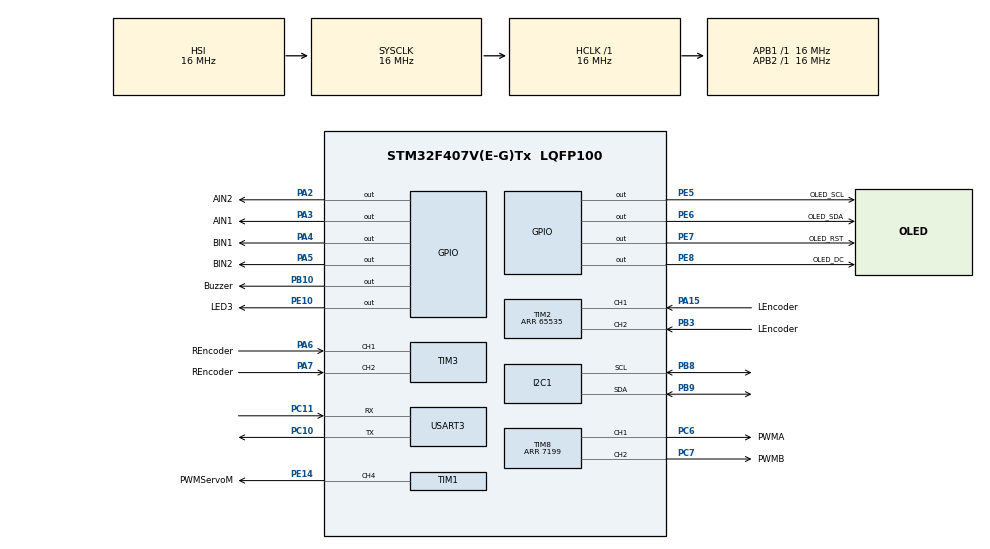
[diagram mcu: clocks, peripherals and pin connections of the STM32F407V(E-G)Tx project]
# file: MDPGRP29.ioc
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FREERTOS.Tasks01=defaultTask,24,128,StartDefaultTask,Default,NULL,Dynamic,NULL,NULL;oled,8,128,OLEDDisplay,Default,NULL,Dynamic,NULL,NULL;Motor,8,128,MOTOR,Default,NULL,Dynamic,NULL,NULL;encoder1,8,128,LEncoder,Default,NULL,Dynamic,NULL,NULL;encoder2,8,128,REncoder,Default,NULL,Dynamic,NULL,NULL;startGyro,8,128,startGyroTask,Default,NULL,Dynamic,NULL,NULL
Mcu.Family=STM32F4
Mcu.Name=STM32F407V(E-G)Tx
Mcu.Package=LQFP100
NVIC.PriorityGroup=NVIC_PRIORITYGROUP_4
NVIC.USART3_IRQn=true\:5\:0\:false\:false\:true\:true\:true\:true\:true
PA15.GPIO_Label=LEncoder
PA15.Signal=S_TIM2_CH1_ETR
PA2.GPIO_Label=AIN2
PA2.GPIO_Speed=GPIO_SPEED_FREQ_HIGH
PA2.Signal=GPIO_Output
PA3.GPIO_Label=AIN1
PA3.GPIO_Speed=GPIO_SPEED_FREQ_HIGH
PA3.Signal=GPIO_Output
PA4.GPIO_Label=BIN1
PA4.GPIO_Speed=GPIO_SPEED_FREQ_HIGH
PA4.Signal=GPIO_Output
PA5.GPIO_Label=BIN2
PA5.GPIO_Speed=GPIO_SPEED_FREQ_HIGH
PA5.Signal=GPIO_Output
PA6.GPIO_Label=REncoder
PA6.Signal=S_TIM3_CH1
PA7.GPIO_Label=REncoder
PA7.Signal=S_TIM3_CH2
PB10.GPIO_Label=Buzzer
PB10.Signal=GPIO_Output
PB3.GPIO_Label=LEncoder
PB3.Signal=S_TIM2_CH2
PB8.Mode=I2C
PB8.Signal=I2C1_SCL
PB9.Mode=I2C
PB9.Signal=I2C1_SDA
PC10.Mode=Asynchronous
PC10.Signal=USART3_TX
PC11.Mode=Asynchronous
PC11.Signal=USART3_RX
PC6.GPIO_Label=PWMA
PC6.Signal=S_TIM8_CH1
PC7.GPIO_Label=PWMB
PC7.GPIO_ModeDefaultPP=GPIO_MODE_AF_PP
PC7.GPIO_PuPd=GPIO_NOPULL
PC7.GPIO_Speed=GPIO_SPEED_FREQ_LOW
PC7.Signal=S_TIM8_CH2
PE10.GPIO_Label=LED3
PE10.Signal=GPIO_Output
PE14.GPIO_Label=PWMServoM
PE14.GPIO_PuPd=GPIO_NOPULL
PE14.Signal=S_TIM1_CH4
PE5.GPIO_Label=OLED_SCL
PE5.Signal=GPIO_Output
PE6.GPIO_Label=OLED_SDA
PE6.Signal=GPIO_Output
PE7.GPIO_Label=OLED_RST
PE7.Signal=GPIO_Output
PE8.GPIO_Label=OLED_DC
PE8.Signal=GPIO_Output
ProjectManager.HeapSize=0x200
ProjectManager.StackSize=0x400
ProjectManager.TargetToolchain=STM32CubeIDE
RCC.AHBFreq_Value=16000000
RCC.APB1Freq_Value=16000000
RCC.APB2Freq_Value=16000000
RCC.CortexFreq_Value=16000000
RCC.HSE_VALUE=25000000
RCC.HSI_VALUE=16000000
RCC.LSE_VALUE=32768
RCC.SYSCLKFreq_VALUE=16000000
RCC.VCOOutputFreq_Value=192000000
SH.S_TIM1_CH4.0=TIM1_CH4,PWM Generation4 CH4
SH.S_TIM2_CH1_ETR.0=TIM2_CH1,Encoder_Interface
SH.S_TIM2_CH2.0=TIM2_CH2,Encoder_Interface
SH.S_TIM3_CH1.0=TIM3_CH1,Encoder_Interface
SH.S_TIM3_CH2.0=TIM3_CH2,Encoder_Interface
SH.S_TIM8_CH1.0=TIM8_CH1,PWM Generation1 CH1
SH.S_TIM8_CH2.0=TIM8_CH2,PWM Generation2 CH2
TIM1.Channel-PWM\ Generation4\ CH4=TIM_CHANNEL_4
TIM1.Period=1000
TIM1.Prescaler=160
TIM2.EncoderMode=TIM_ENCODERMODE_TI12
TIM2.IC1Filter=10
TIM2.IC2Filter=10
TIM2.Period=65535
TIM3.EncoderMode=TIM_ENCODERMODE_TI12
TIM3.IC1Filter=10
TIM3.IC2Filter=10
TIM8.AutoReloadPreload=TIM_AUTORELOAD_PRELOAD_DISABLE
TIM8.Channel-PWM\ Generation1\ CH1=TIM_CHANNEL_1
TIM8.Channel-PWM\ Generation2\ CH2=TIM_CHANNEL_2
TIM8.Period=7199
USART3.VirtualMode=VM_ASYNC
VP_FREERTOS_VS_CMSIS_V2.Mode=CMSIS_V2
VP_TIM8_VS_ClockSourceINT.Mode=Internal
board=custom

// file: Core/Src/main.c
/* USER CODE BEGIN Header */
/**
  ******************************************************************************
  * @file           : main.c
  * @brief          : Main program body
  ******************************************************************************
  * @attention
  *
  * Copyright (c) 2024 STMicroelectronics.
  * All rights reserved.
  *
  * This software is licensed under terms that can be found in the LICENSE file
  * in the root directory of this software component.
  * If no LICENSE file comes with this software, it is provided AS-IS.
  *
  ******************************************************************************
  */
/* USER CODE END Header */
#include "main.h"
#include "cmsis_os.h"

I2C_HandleTypeDef hi2c1;

TIM_HandleTypeDef htim1;
TIM_HandleTypeDef htim2;
TIM_HandleTypeDef htim3;
TIM_HandleTypeDef htim8;

UART_HandleTypeDef huart3;

/* Definitions for defaultTask */
osThreadId_t defaultTaskHandle;
const osThreadAttr_t defaultTask_attributes = {
  .name = "defaultTask",
  .stack_size = 128 * 4,
  .priority = (osPriority_t) osPriorityNormal,
};
/* Definitions for oled */
osThreadId_t oledHandle;
const osThreadAttr_t oled_attributes = {
  .name = "oled",
  .stack_size = 128 * 4,
  .priority = (osPriority_t) osPriorityLow,
};
/* Definitions for Motor */
osThreadId_t MotorHandle;
const osThreadAttr_t Motor_attributes = {
  .name = "Motor",
  .stack_size = 128 * 4,
  .priority = (osPriority_t) osPriorityLow,
};
/* Definitions for encoder1 */
osThreadId_t encoder1Handle;
const osThreadAttr_t encoder1_attributes = {
  .name = "encoder1",
  .stack_size = 128 * 4,
  .priority = (osPriority_t) osPriorityLow,
};
/* Definitions for encoder2 */
osThreadId_t encoder2Handle;
const osThreadAttr_t encoder2_attributes = {
  .name = "encoder2",
  .stack_size = 128 * 4,
  .priority = (osPriority_t) osPriorityLow,
};
/* Definitions for startGyro */
osThreadId_t startGyroHandle;
const osThreadAttr_t startGyro_attributes = {
  .name = "startGyro",
  .stack_size = 128 * 4,
  .priority = (osPriority_t) osPriorityLow,
};

void SystemClock_Config(void);
static void MX_GPIO_Init(void);
static void MX_TIM2_Init(void);
static void MX_TIM8_Init(void);
static void MX_USART3_UART_Init(void);
static void MX_TIM1_Init(void);
static void MX_TIM3_Init(void);
static void MX_I2C1_Init(void);
void StartDefaultTask(void *argument);
void OLEDDisplay(void *argument);
void MOTOR(void *argument);
void LEncoder(void *argument);
void REncoder(void *argument);
void startGyroTask(void *argument);

/* USER CODE BEGIN PFP */
// Gyro
double total_angle=0;
uint8_t gyroBuffer[20];
uint8_t ICMAddress = 0x68;

// movement
uint16_t pwmVal_servo = 149;
uint16_t pwmVal_R = 0;
uint16_t pwmVal_L = 0;
int times_acceptable=0;
int e_brake = 0;

// MotorEncoder
int32_t rightEncoderVal = 0, leftEncoderVal = 0;
int32_t rightTarget = 0, leftTarget = 0;
double target_angle=0;
/* USER CODE END PFP */

int main(void)
{

  /* MCU Configuration--------------------------------------------------------*/

  /* Reset of all peripherals, Initializes the Flash interface and the Systick. */
  HAL_Init();

  /* Configure the system clock */
  SystemClock_Config();

  /* Initialize all configured peripherals */
  MX_GPIO_Init();
  MX_TIM2_Init();
  MX_TIM8_Init();
  MX_USART3_UART_Init();
  MX_TIM1_Init();
  MX_TIM3_Init();
  MX_I2C1_Init();
  /* USER CODE BEGIN 2 */
  OLED_Init();
  /* USER CODE END 2 */

  /* Init scheduler */
  osKernelInitialize();

  /* Create the thread(s) */
  /* creation of defaultTask */
  defaultTaskHandle = osThreadNew(StartDefaultTask, NULL, &defaultTask_attributes);

  /* creation of oled */
  oledHandle = osThreadNew(OLEDDisplay, NULL, &oled_attributes);

  /* creation of Motor */
  MotorHandle = osThreadNew(MOTOR, NULL, &Motor_attributes);

  /* creation of encoder1 */
  encoder1Handle = osThreadNew(LEncoder, NULL, &encoder1_attributes);

  /* creation of encoder2 */
  encoder2Handle = osThreadNew(REncoder, NULL, &encoder2_attributes);

  /* creation of startGyro */
  startGyroHandle = osThreadNew(startGyroTask, NULL, &startGyro_attributes);

  /* Start scheduler */
  osKernelStart();

  /* We should never get here as control is now taken by the scheduler */
  /* Infinite loop */
  while (1)
  {

  }
}

void SystemClock_Config(void)
{
  RCC_OscInitTypeDef RCC_OscInitStruct = {0};
  RCC_ClkInitTypeDef RCC_ClkInitStruct = {0};

  /** Configure the main internal regulator output voltage
  */
  __HAL_RCC_PWR_CLK_ENABLE();
  __HAL_PWR_VOLTAGESCALING_CONFIG(PWR_REGULATOR_VOLTAGE_SCALE1);

  /** Initializes the RCC Oscillators according to the specified parameters
  * in the RCC_OscInitTypeDef structure.
  */
  RCC_OscInitStruct.OscillatorType = RCC_OSCILLATORTYPE_HSI;
  RCC_OscInitStruct.HSIState = RCC_HSI_ON;
  RCC_OscInitStruct.HSICalibrationValue = RCC_HSICALIBRATION_DEFAULT;
  RCC_OscInitStruct.PLL.PLLState = RCC_PLL_NONE;
  if (HAL_RCC_OscConfig(&RCC_OscInitStruct) != HAL_OK)
  {
    Error_Handler();
  }

  /** Initializes the CPU, AHB and APB buses clocks
  */
  RCC_ClkInitStruct.ClockType = RCC_CLOCKTYPE_HCLK|RCC_CLOCKTYPE_SYSCLK
                              |RCC_CLOCKTYPE_PCLK1|RCC_CLOCKTYPE_PCLK2;
  RCC_ClkInitStruct.SYSCLKSource = RCC_SYSCLKSOURCE_HSI;
  RCC_ClkInitStruct.AHBCLKDivider = RCC_SYSCLK_DIV1;
  RCC_ClkInitStruct.APB1CLKDivider = RCC_HCLK_DIV1;
  RCC_ClkInitStruct.APB2CLKDivider = RCC_HCLK_DIV1;

  if (HAL_RCC_ClockConfig(&RCC_ClkInitStruct, FLASH_LATENCY_0) != HAL_OK)
  {
    Error_Handler();
  }
}

static void MX_I2C1_Init(void)
{

  hi2c1.Instance = I2C1;
  hi2c1.Init.ClockSpeed = 100000;
  hi2c1.Init.DutyCycle = I2C_DUTYCYCLE_2;
  hi2c1.Init.OwnAddress1 = 0;
  hi2c1.Init.AddressingMode = I2C_ADDRESSINGMODE_7BIT;
  hi2c1.Init.DualAddressMode = I2C_DUALADDRESS_DISABLE;
  hi2c1.Init.OwnAddress2 = 0;
  hi2c1.Init.GeneralCallMode = I2C_GENERALCALL_DISABLE;
  hi2c1.Init.NoStretchMode = I2C_NOSTRETCH_DISABLE;
  if (HAL_I2C_Init(&hi2c1) != HAL_OK)
  {
    Error_Handler();
  }

}

static void MX_TIM1_Init(void)
{

  TIM_MasterConfigTypeDef sMasterConfig = {0};
  TIM_OC_InitTypeDef sConfigOC = {0};
  TIM_BreakDeadTimeConfigTypeDef sBreakDeadTimeConfig = {0};

  htim1.Instance = TIM1;
  htim1.Init.Prescaler = 160;
  htim1.Init.CounterMode = TIM_COUNTERMODE_UP;
  htim1.Init.Period = 1000;
  htim1.Init.ClockDivision = TIM_CLOCKDIVISION_DIV1;
  htim1.Init.RepetitionCounter = 0;
  htim1.Init.AutoReloadPreload = TIM_AUTORELOAD_PRELOAD_DISABLE;
  if (HAL_TIM_PWM_Init(&htim1) != HAL_OK)
  {
    Error_Handler();
  }
  sMasterConfig.MasterOutputTrigger = TIM_TRGO_RESET;
  sMasterConfig.MasterSlaveMode = TIM_MASTERSLAVEMODE_DISABLE;
  if (HAL_TIMEx_MasterConfigSynchronization(&htim1, &sMasterConfig) != HAL_OK)
  {
    Error_Handler();
  }
  sConfigOC.OCMode = TIM_OCMODE_PWM1;
  sConfigOC.Pulse = 0;
  sConfigOC.OCPolarity = TIM_OCPOLARITY_HIGH;
  sConfigOC.OCFastMode = TIM_OCFAST_DISABLE;
  sConfigOC.OCIdleState = TIM_OCIDLESTATE_RESET;
  sConfigOC.OCNIdleState = TIM_OCNIDLESTATE_RESET;
  if (HAL_TIM_PWM_ConfigChannel(&htim1, &sConfigOC, TIM_CHANNEL_4) != HAL_OK)
  {
    Error_Handler();
  }
  sBreakDeadTimeConfig.OffStateRunMode = TIM_OSSR_DISABLE;
  sBreakDeadTimeConfig.OffStateIDLEMode = TIM_OSSI_DISABLE;
  sBreakDeadTimeConfig.LockLevel = TIM_LOCKLEVEL_OFF;
  sBreakDeadTimeConfig.DeadTime = 0;
  sBreakDeadTimeConfig.BreakState = TIM_BREAK_DISABLE;
  sBreakDeadTimeConfig.BreakPolarity = TIM_BREAKPOLARITY_HIGH;
  sBreakDeadTimeConfig.AutomaticOutput = TIM_AUTOMATICOUTPUT_DISABLE;
  if (HAL_TIMEx_ConfigBreakDeadTime(&htim1, &sBreakDeadTimeConfig) != HAL_OK)
  {
    Error_Handler();
  }
  HAL_TIM_MspPostInit(&htim1);

}

static void MX_TIM2_Init(void)
{

  TIM_Encoder_InitTypeDef sConfig = {0};
  TIM_MasterConfigTypeDef sMasterConfig = {0};

  htim2.Instance = TIM2;
  htim2.Init.Prescaler = 0;
  htim2.Init.CounterMode = TIM_COUNTERMODE_UP;
  htim2.Init.Period = 65535;
  htim2.Init.ClockDivision = TIM_CLOCKDIVISION_DIV1;
  htim2.Init.AutoReloadPreload = TIM_AUTORELOAD_PRELOAD_DISABLE;
  sConfig.EncoderMode = TIM_ENCODERMODE_TI12;
  sConfig.IC1Polarity = TIM_ICPOLARITY_RISING;
  sConfig.IC1Selection = TIM_ICSELECTION_DIRECTTI;
  sConfig.IC1Prescaler = TIM_ICPSC_DIV1;
  sConfig.IC1Filter = 10;
  sConfig.IC2Polarity = TIM_ICPOLARITY_RISING;
  sConfig.IC2Selection = TIM_ICSELECTION_DIRECTTI;
  sConfig.IC2Prescaler = TIM_ICPSC_DIV1;
  sConfig.IC2Filter = 10;
  if (HAL_TIM_Encoder_Init(&htim2, &sConfig) != HAL_OK)
  {
    Error_Handler();
  }
  sMasterConfig.MasterOutputTrigger = TIM_TRGO_RESET;
  sMasterConfig.MasterSlaveMode = TIM_MASTERSLAVEMODE_DISABLE;
  if (HAL_TIMEx_MasterConfigSynchronization(&htim2, &sMasterConfig) != HAL_OK)
  {
    Error_Handler();
  }

}

static void MX_TIM3_Init(void)
{

  TIM_Encoder_InitTypeDef sConfig = {0};
  TIM_MasterConfigTypeDef sMasterConfig = {0};

  htim3.Instance = TIM3;
  htim3.Init.Prescaler = 0;
  htim3.Init.CounterMode = TIM_COUNTERMODE_UP;
  htim3.Init.Period = 65535;
  htim3.Init.ClockDivision = TIM_CLOCKDIVISION_DIV1;
  htim3.Init.AutoReloadPreload = TIM_AUTORELOAD_PRELOAD_DISABLE;
  sConfig.EncoderMode = TIM_ENCODERMODE_TI12;
  sConfig.IC1Polarity = TIM_ICPOLARITY_RISING;
  sConfig.IC1Selection = TIM_ICSELECTION_DIRECTTI;
  sConfig.IC1Prescaler = TIM_ICPSC_DIV1;
  sConfig.IC1Filter = 10;
  sConfig.IC2Polarity = TIM_ICPOLARITY_RISING;
  sConfig.IC2Selection = TIM_ICSELECTION_DIRECTTI;
  sConfig.IC2Prescaler = TIM_ICPSC_DIV1;
  sConfig.IC2Filter = 10;
  if (HAL_TIM_Encoder_Init(&htim3, &sConfig) != HAL_OK)
  {
    Error_Handler();
  }
  sMasterConfig.MasterOutputTrigger = TIM_TRGO_RESET;
  sMasterConfig.MasterSlaveMode = TIM_MASTERSLAVEMODE_DISABLE;
  if (HAL_TIMEx_MasterConfigSynchronization(&htim3, &sMasterConfig) != HAL_OK)
  {
    Error_Handler();
  }

}

static void MX_TIM8_Init(void)
{

  TIM_ClockConfigTypeDef sClockSourceConfig = {0};
  TIM_MasterConfigTypeDef sMasterConfig = {0};
  TIM_OC_InitTypeDef sConfigOC = {0};
  TIM_BreakDeadTimeConfigTypeDef sBreakDeadTimeConfig = {0};

  htim8.Instance = TIM8;
  htim8.Init.Prescaler = 0;
  htim8.Init.CounterMode = TIM_COUNTERMODE_UP;
  htim8.Init.Period = 7199;
  htim8.Init.ClockDivision = TIM_CLOCKDIVISION_DIV1;
  htim8.Init.RepetitionCounter = 0;
  htim8.Init.AutoReloadPreload = TIM_AUTORELOAD_PRELOAD_DISABLE;
  if (HAL_TIM_Base_Init(&htim8) != HAL_OK)
  {
    Error_Handler();
  }
  sClockSourceConfig.ClockSource = TIM_CLOCKSOURCE_INTERNAL;
  if (HAL_TIM_ConfigClockSource(&htim8, &sClockSourceConfig) != HAL_OK)
  {
    Error_Handler();
  }
  if (HAL_TIM_PWM_Init(&htim8) != HAL_OK)
  {
    Error_Handler();
  }
  sMasterConfig.MasterOutputTrigger = TIM_TRGO_RESET;
  sMasterConfig.MasterSlaveMode = TIM_MASTERSLAVEMODE_DISABLE;
  if (HAL_TIMEx_MasterConfigSynchronization(&htim8, &sMasterConfig) != HAL_OK)
  {
    Error_Handler();
  }
  sConfigOC.OCMode = TIM_OCMODE_PWM1;
  sConfigOC.Pulse = 0;
  sConfigOC.OCPolarity = TIM_OCPOLARITY_HIGH;
  sConfigOC.OCNPolarity = TIM_OCNPOLARITY_HIGH;
  sConfigOC.OCFastMode = TIM_OCFAST_DISABLE;
  sConfigOC.OCIdleState = TIM_OCIDLESTATE_RESET;
  sConfigOC.OCNIdleState = TIM_OCNIDLESTATE_RESET;
  if (HAL_TIM_PWM_ConfigChannel(&htim8, &sConfigOC, TIM_CHANNEL_1) != HAL_OK)
  {
    Error_Handler();
  }
  if (HAL_TIM_PWM_ConfigChannel(&htim8, &sConfigOC, TIM_CHANNEL_2) != HAL_OK)
  {
    Error_Handler();
  }
  sBreakDeadTimeConfig.OffStateRunMode = TIM_OSSR_DISABLE;
  sBreakDeadTimeConfig.OffStateIDLEMode = TIM_OSSI_DISABLE;
  sBreakDeadTimeConfig.LockLevel = TIM_LOCKLEVEL_OFF;
  sBreakDeadTimeConfig.DeadTime = 0;
  sBreakDeadTimeConfig.BreakState = TIM_BREAK_DISABLE;
  sBreakDeadTimeConfig.BreakPolarity = TIM_BREAKPOLARITY_HIGH;
  sBreakDeadTimeConfig.AutomaticOutput = TIM_AUTOMATICOUTPUT_DISABLE;
  if (HAL_TIMEx_ConfigBreakDeadTime(&htim8, &sBreakDeadTimeConfig) != HAL_OK)
  {
    Error_Handler();
  }
  HAL_TIM_MspPostInit(&htim8);

}

static void MX_USART3_UART_Init(void)
{

  huart3.Instance = USART3;
  huart3.Init.BaudRate = 115200;
  huart3.Init.WordLength = UART_WORDLENGTH_8B;
  huart3.Init.StopBits = UART_STOPBITS_1;
  huart3.Init.Parity = UART_PARITY_NONE;
  huart3.Init.Mode = UART_MODE_TX_RX;
  huart3.Init.HwFlowCtl = UART_HWCONTROL_NONE;
  huart3.Init.OverSampling = UART_OVERSAMPLING_16;
  if (HAL_UART_Init(&huart3) != HAL_OK)
  {
    Error_Handler();
  }

}

static void MX_GPIO_Init(void)
{
  GPIO_InitTypeDef GPIO_InitStruct = {0};

  /* GPIO Ports Clock Enable */
  __HAL_RCC_GPIOE_CLK_ENABLE();
  __HAL_RCC_GPIOA_CLK_ENABLE();
  __HAL_RCC_GPIOC_CLK_ENABLE();
  __HAL_RCC_GPIOB_CLK_ENABLE();

  /*Configure GPIO pin Output Level */
  HAL_GPIO_WritePin(GPIOE, OLED_SCL_Pin|OLED_SDA_Pin|OLED_RST_Pin|OLED_DC_Pin
                          |LED3_Pin, GPIO_PIN_RESET);

  /*Configure GPIO pin Output Level */
  HAL_GPIO_WritePin(GPIOA, AIN2_Pin|AIN1_Pin|BIN1_Pin|BIN2_Pin, GPIO_PIN_RESET);
  HAL_GPIO_WritePin(GPIOB, Buzzer_Pin, GPIO_PIN_RESET);

  /*Configure GPIO pins : OLED_SCL_Pin OLED_SDA_Pin OLED_RST_Pin OLED_DC_Pin
                           LED3_Pin */
  GPIO_InitStruct.Pin = OLED_SCL_Pin|OLED_SDA_Pin|OLED_RST_Pin|OLED_DC_Pin
                          |LED3_Pin;
  GPIO_InitStruct.Mode = GPIO_MODE_OUTPUT_PP;
  GPIO_InitStruct.Pull = GPIO_NOPULL;
  GPIO_InitStruct.Speed = GPIO_SPEED_FREQ_LOW;
  HAL_GPIO_Init(GPIOE, &GPIO_InitStruct);

  GPIO_InitStruct.Pin = Buzzer_Pin;
  GPIO_InitStruct.Mode = GPIO_MODE_OUTPUT_PP;
  GPIO_InitStruct.Pull = GPIO_NOPULL;
  GPIO_InitStruct.Speed = GPIO_SPEED_FREQ_LOW;
  HAL_GPIO_Init(GPIOB, &GPIO_InitStruct);

  /*Configure GPIO pins : AIN2_Pin AIN1_Pin BIN1_Pin BIN2_Pin */
  GPIO_InitStruct.Pin = AIN2_Pin|AIN1_Pin|BIN1_Pin|BIN2_Pin;
  GPIO_InitStruct.Mode = GPIO_MODE_OUTPUT_PP;
  GPIO_InitStruct.Pull = GPIO_NOPULL;
  GPIO_InitStruct.Speed = GPIO_SPEED_FREQ_HIGH;
  HAL_GPIO_Init(GPIOA, &GPIO_InitStruct);

}

void StartDefaultTask(void *argument)
{
  /* USER CODE BEGIN 5 */
  /* Infinite loop */
	uint8_t ch = 'A';
	  for(;;)
	  {
		HAL_UART_Transmit(&huart3,(uint8_t *)&ch,1,0xFFFF);
		if (ch<'Z')
		{
			ch++;

		}
		else ch = 'A';
		HAL_GPIO_TogglePin(LED3_GPIO_Port, LED3_Pin);
		osDelay(5000);
	  }
  /* USER CODE END 5 */
}

void readByte(uint8_t addr, uint8_t* data){
	gyroBuffer[0] = addr;
	HAL_I2C_Master_Transmit(&hi2c1, ICMAddress<<1, gyroBuffer, 1, 10);
	HAL_I2C_Master_Receive(&hi2c1, ICMAddress<<1, data, 2, 20);
}

void writeByte(uint8_t addr, uint8_t data){
	gyroBuffer[0] = addr;
	gyroBuffer[1] = data;
	HAL_I2C_Master_Transmit(&hi2c1, ICMAddress << 1, gyroBuffer, 2, 20);
}

void gyroInit(){
	writeByte(0x06, 0x00);
	osDelay(10);
	writeByte(0x03, 0x80);
	osDelay(10);
	writeByte(0x07, 0x07);
	osDelay(10);
	writeByte(0x06, 0x01);
	osDelay(10);
	writeByte(0x7F, 0x20);
	osDelay(10);
	writeByte(0x01, 0x2F);
	osDelay(10);
	writeByte(0x0, 0x00);
	osDelay(10);
	writeByte(0x7F, 0x00);
	osDelay(10);
	writeByte(0x07, 0x00);
	osDelay(10);
}

void OLEDDisplay(void *argument)
{
  /* USER CODE BEGIN OLEDDisplay */
	uint8_t righty[20] = {0};
  /* Infinite loop */
  for(;;)
  {
  //sprintf(righty,"Gyro: %d \0", (int)total_angle);
	int decimals = abs((int)((total_angle-(int)(total_angle))*1000));
	sprintf(righty,"Gyro: %d.%d \0", (int)total_angle, decimals);

	OLED_ShowString(10, 30, righty);
	OLED_Refresh_Gram();
    osDelay(1);
  }
  /*
	uint8_t hello[20]= "Testing RN!\0";
//	char speedStringL[20];
//	char speedStringR[20];

	for(;;)
	{
//	  OLED_ShowString(10,10, hello);H
	  sprintf(hello,"%s\0", aRxBuffer);
	  OLED_ShowString(10,10, hello);
	  // Display motor speed revolution
//	  sprintf(speedStringL, "SpeedL: %d", leftEncoderVal);
//	  OLED_ShowString(10, 30, (uint8_t*)speedStringL);
//	  sprintf(speedStringR, "SpeedR: %d", rightEncoderVal);
//	  OLED_ShowString(10, 50, (uint8_t*)speedStringR);
	  OLED_Refresh_Gram();
	  osDelay(1);
	}
   */
}

void buzzerBeep()
{
	HAL_GPIO_TogglePin(GPIOB, GPIO_PIN_10); //Buzzer On
	HAL_Delay(500);
	HAL_GPIO_TogglePin(GPIOB, GPIO_PIN_10); //Buzzer Off
}

int PID_Control(int error, int right)
{
	if(right){//rightMotor
		if(error>0){//go forward
			HAL_GPIO_WritePin(GPIOA, BIN1_Pin, GPIO_PIN_SET); // set direction of rotation for wheel B- forward
			HAL_GPIO_WritePin(GPIOA, BIN2_Pin, GPIO_PIN_RESET);
		}else{//go backward
		    HAL_GPIO_WritePin(GPIOA, BIN1_Pin, GPIO_PIN_RESET); // set direction of rotation for wheel B - reverse
			HAL_GPIO_WritePin(GPIOA, BIN2_Pin, GPIO_PIN_SET);
		}
	}else{//leftMotor
		if(error>0){//go forward
			HAL_GPIO_WritePin(GPIOA, AIN1_Pin, GPIO_PIN_SET); // set direction of rotation for wheel A - forward
			HAL_GPIO_WritePin(GPIOA, AIN2_Pin, GPIO_PIN_RESET);
		}else{//go backward
		    HAL_GPIO_WritePin(GPIOA, AIN1_Pin, GPIO_PIN_RESET); // set direction of rotation for wheel A - reverse
			HAL_GPIO_WritePin(GPIOA, AIN2_Pin, GPIO_PIN_SET);
		}
	}

	error = abs(error);
	if(error > 2000){
		return 3000;
	}else if(error > 500){
		return 2000;
	}else if(error > 200){
		return 1400;
	}else if(error > 100){
		return 1000;
	}else if(error > 2){
		times_acceptable++;
		return 500;
	}else if(error >=1){
		times_acceptable++;
		return 0;
	}else{
		times_acceptable++;
		return 0;
	}
}

int PID_Angle(double errord, int right)
{
	int error = (int)(errord*10);
	if(right){//rightMotor
		if(error>0){//go forward
			HAL_GPIO_WritePin(GPIOA, BIN1_Pin, GPIO_PIN_SET); // set direction of rotation for wheel B- forward
			HAL_GPIO_WritePin(GPIOA, BIN2_Pin, GPIO_PIN_RESET);
		}else{//go backward
		    HAL_GPIO_WritePin(GPIOA, BIN1_Pin, GPIO_PIN_RESET); // set direction of rotation for wheel B - reverse
			HAL_GPIO_WritePin(GPIOA, BIN2_Pin, GPIO_PIN_SET);
		}
	}else{//leftMotor
		if(error<0){//go forward
			HAL_GPIO_WritePin(GPIOA, AIN1_Pin, GPIO_PIN_SET); // set direction of rotation for wheel A - forward
			HAL_GPIO_WritePin(GPIOA, AIN2_Pin, GPIO_PIN_RESET);
		}else{//go backward
		    HAL_GPIO_WritePin(GPIOA, AIN1_Pin, GPIO_PIN_RESET); // set direction of rotation for wheel A - reverse
			HAL_GPIO_WritePin(GPIOA, AIN2_Pin, GPIO_PIN_SET);
		}
	}

	error = abs(error);
	if(error > 300){
		return 3000;
	}else if(error > 200){
		return 2000;
	}else if(error > 150){
		return 1600;
	}else if(error > 100){
		return 1400;
	}else if(error >10){
		return 1000;
	}else if(error >=2){
		times_acceptable++;
		return 600;
	}else{
		times_acceptable++;
		return 0;
	}
}

int finishCheck(){
	if (times_acceptable > 20){
		e_brake = 1;
		pwmVal_L = pwmVal_R = 0;
		leftTarget = leftEncoderVal;
		rightTarget = rightEncoderVal;
		times_acceptable = 0;
	    osDelay(30); //og 300

		return 0;
	}
	return 1;
}

void MOTOR(void *argument)
{
	uint16_t pwmVal  = 1000;
	HAL_TIM_PWM_Start(&htim8, TIM_CHANNEL_1);
	HAL_TIM_PWM_Start(&htim8, TIM_CHANNEL_2);
	HAL_TIM_PWM_Start(&htim1, TIM_CHANNEL_4);

// For forward and backward testing
		/*
		for(;;)
		{
		  while(pwmVal<4000)
		  {
			  // Left Motor (Motor A)
			  HAL_GPIO_WritePin(GPIOA, AIN2_Pin, GPIO_PIN_SET);
			  HAL_GPIO_WritePin(GPIOA,AIN1_Pin, GPIO_PIN_RESET);

			  // Right Motor (Motor B)
			  HAL_GPIO_WritePin(GPIOA, BIN2_Pin, GPIO_PIN_SET);
			  HAL_GPIO_WritePin(GPIOA, BIN1_Pin, GPIO_PIN_RESET);

			  pwmVal++;
			  __HAL_TIM_SetCompare(&htim8,TIM_CHANNEL_1,pwmVal);
			  __HAL_TIM_SetCompare(&htim8,TIM_CHANNEL_2,pwmVal);

			  osDelay(10);

		  }
		  //Anticlock
		  while(pwmVal>0)
		  {
			  // Left Motor
			  HAL_GPIO_WritePin(GPIOA, AIN2_Pin, GPIO_PIN_RESET);
			  HAL_GPIO_WritePin(GPIOA, AIN1_Pin, GPIO_PIN_SET);

			  // Right Motor
			  HAL_GPIO_WritePin(GPIOA, BIN2_Pin, GPIO_PIN_RESET);
			  HAL_GPIO_WritePin(GPIOA, BIN1_Pin, GPIO_PIN_SET);

			  pwmVal--;
			  __HAL_TIM_SetCompare(&htim8,TIM_CHANNEL_1,pwmVal);
			  __HAL_TIM_SetCompare(&htim8,TIM_CHANNEL_2,pwmVal);
			  osDelay(10);

		  }
		  osDelay(1);
		} */

// For backwheels turn testing
	/*
	for(;;)
		  {
			  while(pwmVal<1600)
			  {
				  // Left Motor (Motor A)
				  HAL_GPIO_WritePin(GPIOA, AIN2_Pin, GPIO_PIN_RESET);
				  HAL_GPIO_WritePin(GPIOA, AIN1_Pin, GPIO_PIN_SET);

				  // Right Motor (Motor B)
				  HAL_GPIO_WritePin(GPIOA, BIN2_Pin, GPIO_PIN_SET);
				  HAL_GPIO_WritePin(GPIOA, BIN1_Pin, GPIO_PIN_RESET);

				  pwmVal++;
				  __HAL_TIM_SetCompare(&htim8,TIM_CHANNEL_1,pwmVal);
				  __HAL_TIM_SetCompare(&htim8,TIM_CHANNEL_2,pwmVal);

				  osDelay(10);

			  }
			  while(pwmVal>0)
			  {
				  // Left Motor
				  HAL_GPIO_WritePin(GPIOA, AIN2_Pin, GPIO_PIN_SET);
				  HAL_GPIO_WritePin(GPIOA, AIN1_Pin, GPIO_PIN_RESET);

				  // Right Motor
				  HAL_GPIO_WritePin(GPIOA, BIN2_Pin, GPIO_PIN_SET);
				  HAL_GPIO_WritePin(GPIOA, BIN1_Pin, GPIO_PIN_RESET);

				//  pwmVal--;
				  __HAL_TIM_SetCompare(&htim8,TIM_CHANNEL_1,pwmVal);
				  __HAL_TIM_SetCompare(&htim8,TIM_CHANNEL_2,pwmVal);
				  osDelay(10);

			  }
			  osDelay(1);
		  } */

// Test on straight movement as well as turning left/right
	  for(;;)
	  {
		  while(pwmVal<1100)
		  {
			  // Left Motor (Motor A)
			  HAL_GPIO_WritePin(GPIOA, AIN2_Pin, GPIO_PIN_RESET);
			  HAL_GPIO_WritePin(GPIOA,AIN1_Pin, GPIO_PIN_SET);

			  // Right Motor (Motor B)
			  HAL_GPIO_WritePin(GPIOA, BIN2_Pin, GPIO_PIN_RESET);
			  HAL_GPIO_WritePin(GPIOA, BIN1_Pin, GPIO_PIN_SET);

			  //pwmVal++;

			  if (pwmVal>=1000){
			//	  htim1.Instance->CCR4 = 145;
			//	  osDelay(2000);
				  htim1.Instance->CCR4 = 220; //right
				  osDelay(2000);
			//	  htim1.Instance->CCR4 = 145; //center
			//	  osDelay(2000);
		    //	  htim1.Instance->CCR4 = 85; //left
			//	  osDelay(2000);
			  }

			  __HAL_TIM_SetCompare(&htim8,TIM_CHANNEL_1,pwmVal);
			  __HAL_TIM_SetCompare(&htim8,TIM_CHANNEL_2,pwmVal+800); //added 800 more pwm on right motor
			  osDelay(10);
		  }
		  osDelay(1);
		  /*
		  while(pwmVal>0)
		  {
			  // Left Motor
			  HAL_GPIO_WritePin(GPIOA, AIN2_Pin, GPIO_PIN_RESET);
			  HAL_GPIO_WritePin(GPIOA, AIN1_Pin, GPIO_PIN_SET);

			  // Right Motor
			  HAL_GPIO_WritePin(GPIOA, BIN2_Pin, GPIO_PIN_RESET);
			  HAL_GPIO_WritePin(GPIOA, BIN1_Pin, GPIO_PIN_SET);

			  pwmVal--;
			  __HAL_TIM_SetCompare(&htim8,TIM_CHANNEL_1,pwmVal);
			  __HAL_TIM_SetCompare(&htim8,TIM_CHANNEL_2,pwmVal);
			  osDelay(10);

		  } */
		//osDelay(1);
	  }

	/*
	// With PID Implementation for Motors
		pwmVal_R = 0;
		pwmVal_L = 0;
		int straightCorrection=0;
		HAL_TIM_PWM_Start(&htim8, TIM_CHANNEL_1);
		HAL_TIM_PWM_Start(&htim8, TIM_CHANNEL_2);
		HAL_TIM_PWM_Start(&htim1, TIM_CHANNEL_4);
		htim1.Instance->CCR4 = 149; //Centre

		HAL_GPIO_WritePin(GPIOA, BIN1_Pin, GPIO_PIN_SET); // set direction of rotation for wheel B- forward
		HAL_GPIO_WritePin(GPIOA, BIN2_Pin, GPIO_PIN_RESET);
		HAL_GPIO_WritePin(GPIOA, AIN1_Pin, GPIO_PIN_SET); // set direction of rotation for wheel A - forward
		HAL_GPIO_WritePin(GPIOA, AIN2_Pin, GPIO_PIN_RESET);
		osDelay(100); //og 1000

		  for(;;)
		  {
				htim1.Instance->CCR4 = pwmVal_servo;
				double error_angle = target_angle - total_angle;
		//		if(aRxBuffer[0] = ' '){
		//			pwmVal_L = pwmVal_R = 0;
		//
		//		}else
					if (pwmVal_servo < 85){ //106 //TURN LEFT
					pwmVal_R = PID_Angle(error_angle, 1)*1.072;  //right is master
					pwmVal_L = pwmVal_R*(0.59); //left is slave

					if(error_angle>0){
						//go forward
						HAL_GPIO_WritePin(GPIOA, AIN1_Pin, GPIO_PIN_SET); // set direction of rotation for wheel A- forward
						HAL_GPIO_WritePin(GPIOA, AIN2_Pin, GPIO_PIN_RESET);
					}
					else{
						//go backward
						HAL_GPIO_WritePin(GPIOA, AIN1_Pin, GPIO_PIN_RESET); // set direction of rotation for wheel A - reverse
						HAL_GPIO_WritePin(GPIOA, AIN2_Pin, GPIO_PIN_SET);
					}
				}

				else if (pwmVal_servo > 200){ //230 //TURN RIGHT
					pwmVal_L = PID_Angle(error_angle, 0);
					pwmVal_R = pwmVal_L*(0.59); //right is slave

					if(error_angle<0){
						//go forward
						HAL_GPIO_WritePin(GPIOA, BIN1_Pin, GPIO_PIN_SET); // set direction of rotation for wheel B- forward
						HAL_GPIO_WritePin(GPIOA, BIN2_Pin, GPIO_PIN_RESET);
					}
					else{
						//go backward
						HAL_GPIO_WritePin(GPIOA, BIN1_Pin, GPIO_PIN_RESET); // set direction of rotation for wheel B - reverse
						HAL_GPIO_WritePin(GPIOA, BIN2_Pin, GPIO_PIN_SET);
					}
				}

				else {

					pwmVal_R = PID_Control(leftTarget - leftEncoderVal, 0)*1.072;
					if (abs(leftTarget - leftEncoderVal)>abs(rightTarget - rightEncoderVal)){
						straightCorrection++;
					}else{ straightCorrection--;}
					if (abs(leftTarget - leftEncoderVal)<100){
						straightCorrection=0;
					}
					pwmVal_L = PID_Control(rightTarget - rightEncoderVal, 1)+straightCorrection;

					if ((leftTarget - leftEncoderVal)<0){
						if (error_angle>5){ // if turn left, 106. right 230. left +. right -.
									pwmVal_servo=((19*5)/5 + 149);
								}
								else if(error_angle<-5){
									pwmVal_servo=((-19*5)/5 + 149);
								}else{
									pwmVal_servo=((19*error_angle)/5 + 149);
								}

					}else{
						if (error_angle>5){ // if turn left, 106. right 230. left +. right -.
									pwmVal_servo=((-19*5)/5 + 149);
								}
								else if(error_angle<-5){
									pwmVal_servo=((19*5)/5 + 149);
								}else{
									pwmVal_servo=((-19*error_angle)/5 + 149);
								}
					}

					//line correction equation is pwmVal = (19*error)/5 + 149
				}

				if(e_brake){
					pwmVal_L = pwmVal_R = 0;
					leftTarget = leftEncoderVal;
					rightTarget = rightEncoderVal;
				}

				__HAL_TIM_SetCompare(&htim8,TIM_CHANNEL_1,pwmVal_L);
				__HAL_TIM_SetCompare(&htim8,TIM_CHANNEL_2,pwmVal_R);
				osDelay(1);

				if (times_acceptable>1000){
					times_acceptable=1001;
				}

		  }
		  */
}

void LEncoder(void *argument)
{
	HAL_TIM_Encoder_Start(&htim2, TIM_CHANNEL_ALL);
	int cnt2;
	int dirL = 1;
	int diff;
	uint32_t tick = HAL_GetTick();
	/* Infinite loop */
	for (;;) {
		if (HAL_GetTick() - tick > 10L) {
			cnt2 = __HAL_TIM_GET_COUNTER(&htim2);

			if (cnt2 > 32000) {
				dirL = 1;
				diff = (65536 - cnt2);
			} else {
				dirL = -1;
				diff = cnt2;
			}
			if (dirL == 1) {
				leftEncoderVal -= diff;
			} else {
				leftEncoderVal += diff;
			}

			__HAL_TIM_SET_COUNTER(&htim2, 0);

			tick = HAL_GetTick();
		}
	}
}

void REncoder(void *argument)
{
	HAL_TIM_Encoder_Start(&htim3, TIM_CHANNEL_ALL);
	int cnt1;
	int dirR = 1;
	int diff;
	uint32_t tick = HAL_GetTick();
	/* Infinite loop */
	for (;;) {
		if (HAL_GetTick() - tick > 10L) {
			cnt1 = __HAL_TIM_GET_COUNTER(&htim3);
			if (cnt1 > 32000) {
				dirR = 1;
				diff = (65536 - cnt1);
			} else {
				dirR = -1;
				diff = cnt1;
			}

			if (dirR == 1) {
				rightEncoderVal += diff;
			} else {
				rightEncoderVal -= diff;
			}

			__HAL_TIM_SET_COUNTER(&htim3, 0);

			tick = HAL_GetTick();
		}
	}
}

void startGyroTask(void *argument)
{
	/* USER CODE BEGIN StartGyroTask */
		gyroInit();
		uint8_t val[2] = {0,0};
		int16_t angular_speed = 0;
		uint32_t tick = 0;
		double offset = 0;
		double trash= 0;
		int i=0;

		//calibration phase
		while(i<100){
			osDelay(50);
			readByte(0x37, val);
			angular_speed = (val[0] << 8) | val[1];
			trash +=(double)((double)angular_speed)*((HAL_GetTick() - tick)/16400.0);
			offset += angular_speed;
			tick = HAL_GetTick();
			i++;
		}

		//calculate gyroscope bias(average offset)
		offset = offset/i;
		buzzerBeep();
		tick = HAL_GetTick();

	  /* Infinite loop */
	  for(;;)
	  {
			osDelay(50);
			readByte(0x37, val);
			angular_speed = (val[0] << 8) | val[1];
			//subtract gyroscope bias from measurement to compensate for drift
			total_angle +=(double)((double)angular_speed - offset)*((HAL_GetTick() - tick)/16400.0); //extra calibration +0.00003
			i -= angular_speed;
			tick = HAL_GetTick();
			i++;

	//		char hello[50] = {0};
	//		double diff = total_angle - old;
	//		int decimals = abs((int)((diff-(int)(diff))*10000));
	//		int offdeci = abs((int)((offset-(int)(offset))*10000));
	//		sprintf(hello,"G%d.%d: %d.%d \0", (int)offset,offdeci,(int)diff, decimals);
	//		old = total_angle;
	//		HAL_UART_Transmit(&huart3, hello, 20,0xFFFF);
	  }
	  /* USER CODE END StartGyroTask */
}

void Error_Handler(void)
{
  __disable_irq();
  while (1){
  }
}
